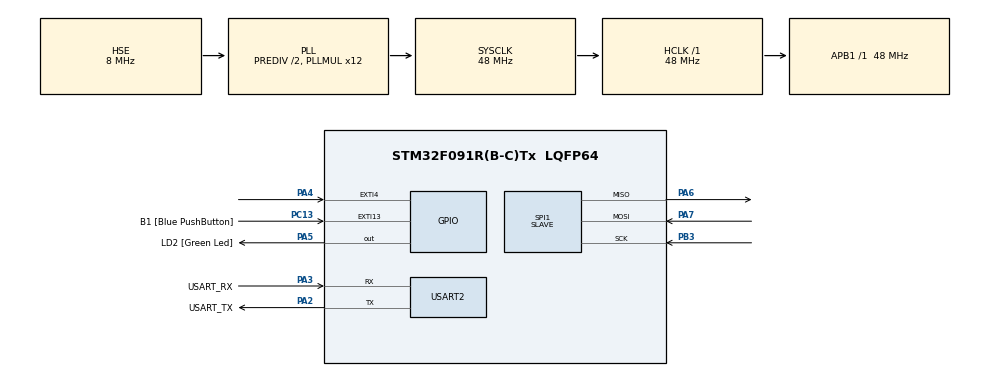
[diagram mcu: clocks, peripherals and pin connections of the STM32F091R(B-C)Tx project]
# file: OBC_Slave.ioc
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Mcu.Family=STM32F0
Mcu.Name=STM32F091R(B-C)Tx
Mcu.Package=LQFP64
NVIC.EXTI4_15_IRQn=true\:0\:0\:false\:false\:true\:true\:true
PA13.GPIO_Label=TMS
PA13.Mode=Serial_Wire
PA13.Signal=SYS_SWDIO
PA14.GPIO_Label=TCK
PA14.Mode=Serial_Wire
PA14.Signal=SYS_SWCLK
PA2.GPIO_Label=USART_TX
PA2.GPIO_Mode=GPIO_MODE_AF_PP
PA2.GPIO_PuPd=GPIO_NOPULL
PA2.GPIO_Speed=GPIO_SPEED_FREQ_LOW
PA2.Mode=Asynchronous
PA2.Signal=USART2_TX
PA3.GPIO_Label=USART_RX
PA3.GPIO_Mode=GPIO_MODE_AF_PP
PA3.GPIO_PuPd=GPIO_NOPULL
PA3.GPIO_Speed=GPIO_SPEED_FREQ_LOW
PA3.Mode=Asynchronous
PA3.Signal=USART2_RX
PA4.GPIO_ModeDefaultEXTI=GPIO_MODE_IT_RISING
PA4.Signal=GPXTI4
PA5.GPIO_Label=LD2 [Green Led]
PA5.GPIO_Mode=GPIO_MODE_OUTPUT_PP
PA5.GPIO_PuPd=GPIO_NOPULL
PA5.GPIO_Speed=GPIO_SPEED_FREQ_LOW
PA5.Signal=GPIO_Output
PA6.Mode=Full_Duplex_Slave
PA6.Signal=SPI1_MISO
PA7.Mode=Full_Duplex_Slave
PA7.Signal=SPI1_MOSI
PB3.Mode=Full_Duplex_Slave
PB3.Signal=SPI1_SCK
PC13.GPIO_Label=B1 [Blue PushButton]
PC13.GPIO_ModeDefaultEXTI=GPIO_MODE_IT_FALLING
PC13.Signal=GPXTI13
PC14OSC32_IN.Signal=RCC_OSC32_IN
PC15OSC32_OUT.Signal=RCC_OSC32_OUT
PF0-OSC_IN.Mode=HSE-External-Oscillator
PF0-OSC_IN.Signal=RCC_OSC_IN
PF1-OSC_OUT.Mode=HSE-External-Oscillator
PF1-OSC_OUT.Signal=RCC_OSC_OUT
ProjectManager.HeapSize=0x200
ProjectManager.StackSize=0x400
ProjectManager.TargetToolchain=STM32CubeIDE
RCC.AHBFreq_Value=48000000
RCC.APB1Freq_Value=48000000
RCC.APB1TimFreq_Value=48000000
RCC.FLatency-AdvancedSettings=FLASH_LATENCY_1
RCC.HCLKFreq_Value=48000000
RCC.PLLDivider=RCC_PREDIV_DIV2
RCC.PLLMUL=RCC_PLL_MUL12
RCC.PLLSourceVirtual=RCC_PLLSOURCE_HSE
RCC.PREFETCH_ENABLE-AdvancedSettings=1
RCC.SYSCLKFreq_VALUE=48000000
RCC.SYSCLKSource=RCC_SYSCLKSOURCE_PLLCLK
SPI1.CRCCalculation=SPI_CRCCALCULATION_DISABLE
SPI1.DataSize=SPI_DATASIZE_8BIT
SPI1.Direction=SPI_DIRECTION_2LINES
SPI1.Mode=SPI_MODE_SLAVE
SPI1.VirtualType=VM_SLAVE
USART2.VirtualMode=VM_ASYNC
USART2.VirtualMode-Asynchronous=VM_ASYNC
board=NUCLEO-F091RC

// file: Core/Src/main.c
/* USER CODE BEGIN Header */
/**
  ******************************************************************************
  * @file           : main.c
  * @brief          : Main program body
  ******************************************************************************
  * @attention
  *
  * Copyright (c) 2022 STMicroelectronics.
  * All rights reserved.
  *
  * This software is licensed under terms that can be found in the LICENSE file
  * in the root directory of this software component.
  * If no LICENSE file comes with this software, it is provided AS-IS.
  *
  ******************************************************************************
  */
/* USER CODE END Header */
#include "main.h"

/* USER CODE BEGIN Includes */
#include "IntraSatComm.h"
#include "stdio.h"
/* USER CODE END Includes */

/* USER CODE BEGIN PM */
#define HEADER 0x4D555350
#define MINPKTLEN 11
/* USER CODE END PM */

SPI_HandleTypeDef hspi1;

UART_HandleTypeDef huart2;

/* USER CODE BEGIN PV */
uint8_t buffer_tx[15];
uint8_t buffer_rx[15];

/* USER CODE END PV */

void SystemClock_Config(void);
static void MX_GPIO_Init(void);
static void MX_USART2_UART_Init(void);
static void MX_SPI1_Init(void);

/* USER CODE BEGIN 0 */

void OBC_Slave_Receive_Transmit(){

	//For slave part it should receive first and then transmit back to the OBC
	PacketInit(); //Initialize Packet
	uint8_t arg[] = {9,10,11,18}; //Packet To Send

	uint8_t id,len,cmd;
	uint8_t argRet[4];

	if(HAL_SPI_Receive(&hspi1,buffer_rx,sizeof(buffer_rx),100) != HAL_OK) // Receive from slave side
		{
			Error_Handler();
		}

	deframeReturn retVal = PacketDisassemble(&id,&len,&cmd,argRet,buffer_rx,sizeof(buffer_rx)); // disassemble packet from OBC
	if(retVal == DEFRAME_OK){
	printf("\nretVal is %d id is %x len is %d cmd is %x\n",retVal, id, len, cmd);
	for (int i = 0;i<len;i++){
	            printf("arg %d is %x\n",i, argRet[i]);
	       }
	 }else if (retVal == DEFRAME_INVALID_HEADER){
	        printf("Can't find header");
	 }else{
	        printf("CRC doesnt match");
	 }

	PacketAssemble(0x11,0x01,arg,sizeof(arg),buffer_tx); // assemble packet to send OBC

	if(HAL_SPI_Transmit(&hspi1,buffer_tx,15,100) != HAL_OK)
	{
		Error_Handler();
	}

}
/* USER CODE END 0 */

int main(void)
{
  /* USER CODE BEGIN 1 */

	//OBC_Slave_Receive_Transmit();
  /* USER CODE END 1 */

  /* MCU Configuration--------------------------------------------------------*/

  /* Reset of all peripherals, Initializes the Flash interface and the Systick. */
  HAL_Init();

  /* Configure the system clock */
  SystemClock_Config();

  /* Initialize all configured peripherals */
  MX_GPIO_Init();
  MX_USART2_UART_Init();
  MX_SPI1_Init();

  /* Infinite loop */
  while (1)
  {

    /* USER CODE BEGIN 3 */

	//  OBC_Transmit();

  }
  /* USER CODE END 3 */
}
void HAL_GPIO_EXTI_Callback(uint16_t GPIO_Pin)
{
	if(GPIO_Pin == GPIO_PIN_4){
	OBC_Slave_Receive_Transmit();
	}
}

void SystemClock_Config(void)
{
  RCC_OscInitTypeDef RCC_OscInitStruct = {0};
  RCC_ClkInitTypeDef RCC_ClkInitStruct = {0};
  RCC_PeriphCLKInitTypeDef PeriphClkInit = {0};

  /** Initializes the RCC Oscillators according to the specified parameters
  * in the RCC_OscInitTypeDef structure.
  */
  RCC_OscInitStruct.OscillatorType = RCC_OSCILLATORTYPE_HSE;
  RCC_OscInitStruct.HSEState = RCC_HSE_ON;
  RCC_OscInitStruct.PLL.PLLState = RCC_PLL_ON;
  RCC_OscInitStruct.PLL.PLLSource = RCC_PLLSOURCE_HSE;
  RCC_OscInitStruct.PLL.PLLMUL = RCC_PLL_MUL12;
  RCC_OscInitStruct.PLL.PREDIV = RCC_PREDIV_DIV2;
  if (HAL_RCC_OscConfig(&RCC_OscInitStruct) != HAL_OK)
  {
    Error_Handler();
  }
  /** Initializes the CPU, AHB and APB buses clocks
  */
  RCC_ClkInitStruct.ClockType = RCC_CLOCKTYPE_HCLK|RCC_CLOCKTYPE_SYSCLK
                              |RCC_CLOCKTYPE_PCLK1;
  RCC_ClkInitStruct.SYSCLKSource = RCC_SYSCLKSOURCE_PLLCLK;
  RCC_ClkInitStruct.AHBCLKDivider = RCC_SYSCLK_DIV1;
  RCC_ClkInitStruct.APB1CLKDivider = RCC_HCLK_DIV1;

  if (HAL_RCC_ClockConfig(&RCC_ClkInitStruct, FLASH_LATENCY_1) != HAL_OK)
  {
    Error_Handler();
  }
  PeriphClkInit.PeriphClockSelection = RCC_PERIPHCLK_USART2;
  PeriphClkInit.Usart2ClockSelection = RCC_USART2CLKSOURCE_PCLK1;
  if (HAL_RCCEx_PeriphCLKConfig(&PeriphClkInit) != HAL_OK)
  {
    Error_Handler();
  }
}

static void MX_SPI1_Init(void)
{

  /* SPI1 parameter configuration*/
  hspi1.Instance = SPI1;
  hspi1.Init.Mode = SPI_MODE_SLAVE;
  hspi1.Init.Direction = SPI_DIRECTION_2LINES;
  hspi1.Init.DataSize = SPI_DATASIZE_8BIT;
  hspi1.Init.CLKPolarity = SPI_POLARITY_LOW;
  hspi1.Init.CLKPhase = SPI_PHASE_1EDGE;
  hspi1.Init.NSS = SPI_NSS_SOFT;
  hspi1.Init.FirstBit = SPI_FIRSTBIT_MSB;
  hspi1.Init.TIMode = SPI_TIMODE_DISABLE;
  hspi1.Init.CRCCalculation = SPI_CRCCALCULATION_DISABLE;
  hspi1.Init.CRCPolynomial = 7;
  hspi1.Init.CRCLength = SPI_CRC_LENGTH_DATASIZE;
  hspi1.Init.NSSPMode = SPI_NSS_PULSE_DISABLE;
  if (HAL_SPI_Init(&hspi1) != HAL_OK)
  {
    Error_Handler();
  }

}

static void MX_USART2_UART_Init(void)
{

  huart2.Instance = USART2;
  huart2.Init.BaudRate = 115200;
  huart2.Init.WordLength = UART_WORDLENGTH_8B;
  huart2.Init.StopBits = UART_STOPBITS_1;
  huart2.Init.Parity = UART_PARITY_NONE;
  huart2.Init.Mode = UART_MODE_TX_RX;
  huart2.Init.HwFlowCtl = UART_HWCONTROL_NONE;
  huart2.Init.OverSampling = UART_OVERSAMPLING_16;
  huart2.Init.OneBitSampling = UART_ONE_BIT_SAMPLE_DISABLE;
  huart2.AdvancedInit.AdvFeatureInit = UART_ADVFEATURE_NO_INIT;
  if (HAL_UART_Init(&huart2) != HAL_OK)
  {
    Error_Handler();
  }

}

static void MX_GPIO_Init(void)
{
  GPIO_InitTypeDef GPIO_InitStruct = {0};

  /* GPIO Ports Clock Enable */
  __HAL_RCC_GPIOC_CLK_ENABLE();
  __HAL_RCC_GPIOF_CLK_ENABLE();
  __HAL_RCC_GPIOA_CLK_ENABLE();
  __HAL_RCC_GPIOB_CLK_ENABLE();

  /*Configure GPIO pin Output Level */
  HAL_GPIO_WritePin(LD2_GPIO_Port, LD2_Pin, GPIO_PIN_RESET);

  /*Configure GPIO pin : B1_Pin */
  GPIO_InitStruct.Pin = B1_Pin;
  GPIO_InitStruct.Mode = GPIO_MODE_IT_FALLING;
  GPIO_InitStruct.Pull = GPIO_NOPULL;
  HAL_GPIO_Init(B1_GPIO_Port, &GPIO_InitStruct);

  /*Configure GPIO pin : PA4 */
  GPIO_InitStruct.Pin = GPIO_PIN_4;
  GPIO_InitStruct.Mode = GPIO_MODE_IT_RISING;
  GPIO_InitStruct.Pull = GPIO_NOPULL;
  HAL_GPIO_Init(GPIOA, &GPIO_InitStruct);

  /*Configure GPIO pin : LD2_Pin */
  GPIO_InitStruct.Pin = LD2_Pin;
  GPIO_InitStruct.Mode = GPIO_MODE_OUTPUT_PP;
  GPIO_InitStruct.Pull = GPIO_NOPULL;
  GPIO_InitStruct.Speed = GPIO_SPEED_FREQ_LOW;
  HAL_GPIO_Init(LD2_GPIO_Port, &GPIO_InitStruct);

  /* EXTI interrupt init*/
  HAL_NVIC_SetPriority(EXTI4_15_IRQn, 0, 0);
  HAL_NVIC_EnableIRQ(EXTI4_15_IRQn);

}

void Error_Handler(void)
{
  __disable_irq();
  while (1)
  {
  }
}
